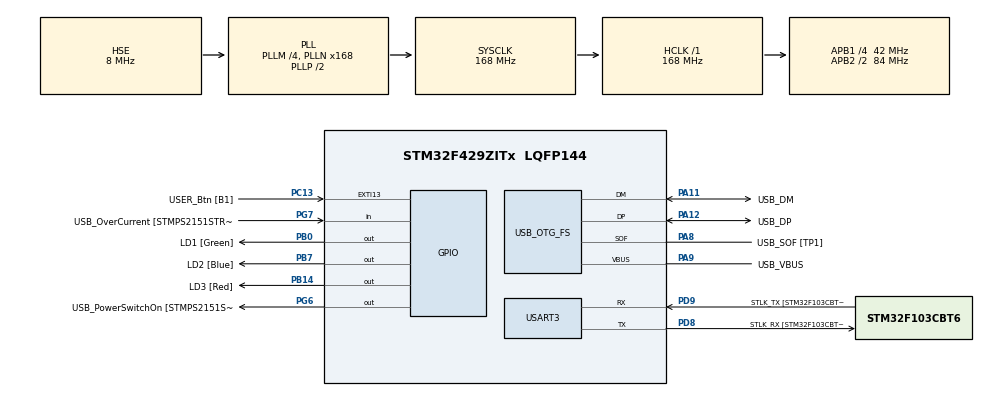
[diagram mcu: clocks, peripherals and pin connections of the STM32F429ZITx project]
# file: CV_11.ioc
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Mcu.Family=STM32F4
Mcu.Name=STM32F429ZITx
Mcu.Package=LQFP144
NVIC.OTG_FS_IRQn=true\:0\:0\:false\:false\:true\:false\:true\:true
NVIC.PriorityGroup=NVIC_PRIORITYGROUP_4
PA1.GPIO_Label=RMII_REF_CLK [LAN8742A-CZ-TR_REFCLK0]
PA1.Signal=ETH_REF_CLK
PA10.GPIO_Label=USB_ID
PA10.Signal=USB_OTG_FS_ID
PA11.GPIO_Label=USB_DM
PA11.Mode=Device_Only
PA11.Signal=USB_OTG_FS_DM
PA12.GPIO_Label=USB_DP
PA12.Mode=Device_Only
PA12.Signal=USB_OTG_FS_DP
PA13.GPIO_Label=TMS
PA13.Mode=Serial_Wire
PA13.Signal=SYS_JTMS-SWDIO
PA14.GPIO_Label=TCK
PA14.Mode=Serial_Wire
PA14.Signal=SYS_JTCK-SWCLK
PA2.GPIO_Label=RMII_MDIO [LAN8742A-CZ-TR_MDIO]
PA2.Signal=ETH_MDIO
PA7.GPIO_Label=RMII_CRS_DV [LAN8742A-CZ-TR_CRS_DV]
PA7.Signal=ETH_CRS_DV
PA8.GPIO_Label=USB_SOF [TP1]
PA8.Mode=Activate_SOF_FS
PA8.Signal=USB_OTG_FS_SOF
PA9.GPIO_Label=USB_VBUS
PA9.Mode=Activate_VBUS
PA9.Signal=USB_OTG_FS_VBUS
PB0.GPIO_Label=LD1 [Green]
PB0.Signal=GPIO_Output
PB13.GPIO_Label=RMII_TXD1 [LAN8742A-CZ-TR_TXD1]
PB13.Signal=ETH_TXD1
PB14.GPIO_Label=LD3 [Red]
PB14.Signal=GPIO_Output
PB7.GPIO_Label=LD2 [Blue]
PB7.Signal=GPIO_Output
PC1.GPIO_Label=RMII_MDC [LAN8742A-CZ-TR_MDC]
PC1.Signal=ETH_MDC
PC13.GPIO_Label=USER_Btn [B1]
PC13.Signal=GPXTI13
PC14/OSC32_IN.Mode=LSE-External-Oscillator
PC14/OSC32_IN.Signal=RCC_OSC32_IN
PC15/OSC32_OUT.Mode=LSE-External-Oscillator
PC15/OSC32_OUT.Signal=RCC_OSC32_OUT
PC4.GPIO_Label=RMII_RXD0 [LAN8742A-CZ-TR_RXD0]
PC4.Signal=ETH_RXD0
PC5.GPIO_Label=RMII_RXD1 [LAN8742A-CZ-TR_RXD1]
PC5.Signal=ETH_RXD1
PD8.GPIO_Label=STLK_RX [STM32F103CBT6_PA3]
PD8.Mode=Asynchronous
PD8.Signal=USART3_TX
PD9.GPIO_Label=STLK_TX [STM32F103CBT6_PA2]
PD9.Mode=Asynchronous
PD9.Signal=USART3_RX
PG11.GPIO_Label=RMII_TX_EN [LAN8742A-CZ-TR_TXEN]
PG11.Signal=ETH_TX_EN
PG13.GPIO_Label=RMII_TXD0 [LAN8742A-CZ-TR_TXD0]
PG13.Signal=ETH_TXD0
PG6.GPIO_Label=USB_PowerSwitchOn [STMPS2151STR_EN]
PG6.Signal=GPIO_Output
PG7.GPIO_Label=USB_OverCurrent [STMPS2151STR_FAULT]
PG7.Signal=GPIO_Input
PH0/OSC_IN.GPIO_Label=MCO [STM32F103CBT6_PA8]
PH0/OSC_IN.Mode=HSE-External-Clock-Source
PH0/OSC_IN.Signal=RCC_OSC_IN
PH1/OSC_OUT.Mode=HSE-External-Clock-Source
PH1/OSC_OUT.Signal=RCC_OSC_OUT
ProjectManager.HeapSize=0x200
ProjectManager.StackSize=0x400
ProjectManager.TargetToolchain=STM32CubeIDE
RCC.48MHZClocksFreq_Value=48000000
RCC.AHBFreq_Value=168000000
RCC.APB1CLKDivider=RCC_HCLK_DIV4
RCC.APB1Freq_Value=42000000
RCC.APB1TimFreq_Value=84000000
RCC.APB2CLKDivider=RCC_HCLK_DIV2
RCC.APB2Freq_Value=84000000
RCC.APB2TimCLKDivider=2
RCC.APB2TimFreq_Value=168000000
RCC.CortexFreq_Value=168000000
RCC.HCLKFreq_Value=168000000
RCC.HSE_VALUE=8000000
RCC.HSI_VALUE=16000000
RCC.PLLM=4
RCC.PLLMUL=RCC_PLL_MUL9
RCC.PLLN=168
RCC.PLLQ=7
RCC.PRESCALERUSB=RCC_USBCLKSOURCE_PLL_DIV1_5
RCC.SYSCLKFreq_VALUE=168000000
RCC.SYSCLKSource=RCC_SYSCLKSOURCE_PLLCLK
RCC.SYSCLKSourceVirtual=RCC_SYSCLKSOURCE_PLLCLK
RCC.USBFreq_Value=48000000
RCC.VCOOutputFreq_Value=336000000
USART3.VirtualMode=VM_ASYNC
USB_DEVICE.CLASS_NAME_FS=HID
USB_DEVICE.VirtualMode-HID_FS=Hid
USB_DEVICE.VirtualModeFS=Hid_FS
USB_OTG_FS.VirtualMode=Device_Only
VP_USB_DEVICE_VS_USB_DEVICE_HID_FS.Mode=HID_FS
board=NUCLEO-F429ZI

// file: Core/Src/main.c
/* USER CODE BEGIN Header */
/**
  ******************************************************************************
  * @file           : main.c
  * @brief          : Main program body
  ******************************************************************************
  * @attention
  *
  * Copyright (c) 2023 STMicroelectronics.
  * All rights reserved.
  *
  * This software is licensed under terms that can be found in the LICENSE file
  * in the root directory of this software component.
  * If no LICENSE file comes with this software, it is provided AS-IS.
  *
  ******************************************************************************
  */
/* USER CODE END Header */
#include "main.h"
#include "usb_device.h"

/* USER CODE BEGIN Includes */
#include "usbd_hid.h"
#include "math.h"
/* USER CODE END Includes */

UART_HandleTypeDef huart3;

void SystemClock_Config(void);
static void MX_GPIO_Init(void);
static void MX_USART3_UART_Init(void);

/* USER CODE BEGIN 0 */
extern USBD_HandleTypeDef hUsbDeviceFS;

static void posunMys(uint8_t x, uint8_t y){
	uint8_t buff[4];

	buff[0] = 0; // stiskni leve tlacitko
	buff[1] = (int8_t)(x); // posun X +10
	buff[2] = (int8_t)(y); // posun Y -3
	buff[3] = 0; // bez scrollu
	USBD_HID_SendReport(&hUsbDeviceFS, buff, sizeof(buff));  // posle data do PC
	HAL_Delay(USBD_HID_GetPollingInterval(&hUsbDeviceFS));
}

static void nakreslikruznicu(uint8_t r){
	uint8_t buff[4];

	for (uint8_t i=0; i<=120; i++){
		int krok=i*3;
		float x=r*cos(krok*M_PI/180);
		float y=r*sin(krok*M_PI/180);

		buff[0] = 0x01; // stiskni leve tlacitko
		buff[1] = (int8_t)x; // posun X
		buff[2] = (int8_t)y; // posun Y
		buff[3] = 0; // bez scrollu
		USBD_HID_SendReport(&hUsbDeviceFS, buff, sizeof(buff));  // posle data do PC
		HAL_Delay(USBD_HID_GetPollingInterval(&hUsbDeviceFS));
	}
}

static void usmev(uint8_t r){
	uint8_t buff[4];

	for (uint8_t i=40; i<=80; i++){
		int krok=i*3;
		float x=r*cos(krok*M_PI/180);
		float y=r*sin(krok*M_PI/180);

		buff[0] = 0x01; // stiskni leve tlacitko
		buff[1] = (int8_t)x; // posun X
		buff[2] = (int8_t)y; // posun Y
		buff[3] = 0; // bez scrollu
		USBD_HID_SendReport(&hUsbDeviceFS, buff, sizeof(buff));  // posle data do PC
		HAL_Delay(USBD_HID_GetPollingInterval(&hUsbDeviceFS));
	}
}

static void releasebtn(){
	uint8_t buff[4];

	buff[0] = 0; // stiskni leve tlacitko
	buff[1] = 0; // posun X
	buff[2] = 0; // posun Y
	buff[3] = 0; // bez scrollu
	USBD_HID_SendReport(&hUsbDeviceFS, buff, sizeof(buff));  // posle data do PC
	HAL_Delay(USBD_HID_GetPollingInterval(&hUsbDeviceFS));
}

static void pushbtn(){
	uint8_t buff[4];

	buff[0] = 0x01; // stiskni leve tlacitko
	buff[1] = 0; // posun X
	buff[2] = 0; // posun Y
	buff[3] = 0; // bez scrollu
	USBD_HID_SendReport(&hUsbDeviceFS, buff, sizeof(buff));  // posle data do PC
	HAL_Delay(USBD_HID_GetPollingInterval(&hUsbDeviceFS));
}
/* USER CODE END 0 */

int main(void)
{

  /* MCU Configuration--------------------------------------------------------*/

  /* Reset of all peripherals, Initializes the Flash interface and the Systick. */
  HAL_Init();

  /* Configure the system clock */
  SystemClock_Config();

  /* Initialize all configured peripherals */
  MX_GPIO_Init();
  MX_USART3_UART_Init();
  MX_USB_DEVICE_Init();

  /* Infinite loop */
  /* USER CODE BEGIN WHILE */
  while (1)
  {
	  if (HAL_GPIO_ReadPin(USER_Btn_GPIO_Port, USER_Btn_Pin)){
		  nakreslikruznicu(10);
		  releasebtn();
		  posunMys(-50,60);
		  nakreslikruznicu(4);
		  releasebtn();
		  posunMys(100,0);
		  nakreslikruznicu(4);
		  releasebtn();
		  posunMys(-53,20);
		  pushbtn();
		  posunMys(0,40);
		  releasebtn();
		  posunMys(43,10);
		  usmev(7);
		  releasebtn();

	  }
    /* USER CODE END WHILE */

  }
}

void SystemClock_Config(void)
{
  RCC_OscInitTypeDef RCC_OscInitStruct = {0};
  RCC_ClkInitTypeDef RCC_ClkInitStruct = {0};

  /** Configure the main internal regulator output voltage
  */
  __HAL_RCC_PWR_CLK_ENABLE();
  __HAL_PWR_VOLTAGESCALING_CONFIG(PWR_REGULATOR_VOLTAGE_SCALE1);

  /** Initializes the RCC Oscillators according to the specified parameters
  * in the RCC_OscInitTypeDef structure.
  */
  RCC_OscInitStruct.OscillatorType = RCC_OSCILLATORTYPE_HSE;
  RCC_OscInitStruct.HSEState = RCC_HSE_BYPASS;
  RCC_OscInitStruct.PLL.PLLState = RCC_PLL_ON;
  RCC_OscInitStruct.PLL.PLLSource = RCC_PLLSOURCE_HSE;
  RCC_OscInitStruct.PLL.PLLM = 4;
  RCC_OscInitStruct.PLL.PLLN = 168;
  RCC_OscInitStruct.PLL.PLLP = RCC_PLLP_DIV2;
  RCC_OscInitStruct.PLL.PLLQ = 7;
  if (HAL_RCC_OscConfig(&RCC_OscInitStruct) != HAL_OK)
  {
    Error_Handler();
  }

  /** Initializes the CPU, AHB and APB buses clocks
  */
  RCC_ClkInitStruct.ClockType = RCC_CLOCKTYPE_HCLK|RCC_CLOCKTYPE_SYSCLK
                              |RCC_CLOCKTYPE_PCLK1|RCC_CLOCKTYPE_PCLK2;
  RCC_ClkInitStruct.SYSCLKSource = RCC_SYSCLKSOURCE_PLLCLK;
  RCC_ClkInitStruct.AHBCLKDivider = RCC_SYSCLK_DIV1;
  RCC_ClkInitStruct.APB1CLKDivider = RCC_HCLK_DIV4;
  RCC_ClkInitStruct.APB2CLKDivider = RCC_HCLK_DIV2;

  if (HAL_RCC_ClockConfig(&RCC_ClkInitStruct, FLASH_LATENCY_5) != HAL_OK)
  {
    Error_Handler();
  }
}

static void MX_USART3_UART_Init(void)
{

  huart3.Instance = USART3;
  huart3.Init.BaudRate = 115200;
  huart3.Init.WordLength = UART_WORDLENGTH_8B;
  huart3.Init.StopBits = UART_STOPBITS_1;
  huart3.Init.Parity = UART_PARITY_NONE;
  huart3.Init.Mode = UART_MODE_TX_RX;
  huart3.Init.HwFlowCtl = UART_HWCONTROL_NONE;
  huart3.Init.OverSampling = UART_OVERSAMPLING_16;
  if (HAL_UART_Init(&huart3) != HAL_OK)
  {
    Error_Handler();
  }

}

static void MX_GPIO_Init(void)
{
  GPIO_InitTypeDef GPIO_InitStruct = {0};

  /* GPIO Ports Clock Enable */
  __HAL_RCC_GPIOC_CLK_ENABLE();
  __HAL_RCC_GPIOH_CLK_ENABLE();
  __HAL_RCC_GPIOA_CLK_ENABLE();
  __HAL_RCC_GPIOB_CLK_ENABLE();
  __HAL_RCC_GPIOD_CLK_ENABLE();
  __HAL_RCC_GPIOG_CLK_ENABLE();

  /*Configure GPIO pin Output Level */
  HAL_GPIO_WritePin(GPIOB, LD1_Pin|LD3_Pin|LD2_Pin, GPIO_PIN_RESET);

  /*Configure GPIO pin Output Level */
  HAL_GPIO_WritePin(USB_PowerSwitchOn_GPIO_Port, USB_PowerSwitchOn_Pin, GPIO_PIN_RESET);

  /*Configure GPIO pin : USER_Btn_Pin */
  GPIO_InitStruct.Pin = USER_Btn_Pin;
  GPIO_InitStruct.Mode = GPIO_MODE_IT_RISING;
  GPIO_InitStruct.Pull = GPIO_NOPULL;
  HAL_GPIO_Init(USER_Btn_GPIO_Port, &GPIO_InitStruct);

  /*Configure GPIO pins : RMII_MDC_Pin RMII_RXD0_Pin RMII_RXD1_Pin */
  GPIO_InitStruct.Pin = RMII_MDC_Pin|RMII_RXD0_Pin|RMII_RXD1_Pin;
  GPIO_InitStruct.Mode = GPIO_MODE_AF_PP;
  GPIO_InitStruct.Pull = GPIO_NOPULL;
  GPIO_InitStruct.Speed = GPIO_SPEED_FREQ_VERY_HIGH;
  GPIO_InitStruct.Alternate = GPIO_AF11_ETH;
  HAL_GPIO_Init(GPIOC, &GPIO_InitStruct);

  /*Configure GPIO pins : RMII_REF_CLK_Pin RMII_MDIO_Pin RMII_CRS_DV_Pin */
  GPIO_InitStruct.Pin = RMII_REF_CLK_Pin|RMII_MDIO_Pin|RMII_CRS_DV_Pin;
  GPIO_InitStruct.Mode = GPIO_MODE_AF_PP;
  GPIO_InitStruct.Pull = GPIO_NOPULL;
  GPIO_InitStruct.Speed = GPIO_SPEED_FREQ_VERY_HIGH;
  GPIO_InitStruct.Alternate = GPIO_AF11_ETH;
  HAL_GPIO_Init(GPIOA, &GPIO_InitStruct);

  /*Configure GPIO pins : LD1_Pin LD3_Pin LD2_Pin */
  GPIO_InitStruct.Pin = LD1_Pin|LD3_Pin|LD2_Pin;
  GPIO_InitStruct.Mode = GPIO_MODE_OUTPUT_PP;
  GPIO_InitStruct.Pull = GPIO_NOPULL;
  GPIO_InitStruct.Speed = GPIO_SPEED_FREQ_LOW;
  HAL_GPIO_Init(GPIOB, &GPIO_InitStruct);

  /*Configure GPIO pin : RMII_TXD1_Pin */
  GPIO_InitStruct.Pin = RMII_TXD1_Pin;
  GPIO_InitStruct.Mode = GPIO_MODE_AF_PP;
  GPIO_InitStruct.Pull = GPIO_NOPULL;
  GPIO_InitStruct.Speed = GPIO_SPEED_FREQ_VERY_HIGH;
  GPIO_InitStruct.Alternate = GPIO_AF11_ETH;
  HAL_GPIO_Init(RMII_TXD1_GPIO_Port, &GPIO_InitStruct);

  /*Configure GPIO pin : USB_PowerSwitchOn_Pin */
  GPIO_InitStruct.Pin = USB_PowerSwitchOn_Pin;
  GPIO_InitStruct.Mode = GPIO_MODE_OUTPUT_PP;
  GPIO_InitStruct.Pull = GPIO_NOPULL;
  GPIO_InitStruct.Speed = GPIO_SPEED_FREQ_LOW;
  HAL_GPIO_Init(USB_PowerSwitchOn_GPIO_Port, &GPIO_InitStruct);

  /*Configure GPIO pin : USB_OverCurrent_Pin */
  GPIO_InitStruct.Pin = USB_OverCurrent_Pin;
  GPIO_InitStruct.Mode = GPIO_MODE_INPUT;
  GPIO_InitStruct.Pull = GPIO_NOPULL;
  HAL_GPIO_Init(USB_OverCurrent_GPIO_Port, &GPIO_InitStruct);

  /*Configure GPIO pins : RMII_TX_EN_Pin RMII_TXD0_Pin */
  GPIO_InitStruct.Pin = RMII_TX_EN_Pin|RMII_TXD0_Pin;
  GPIO_InitStruct.Mode = GPIO_MODE_AF_PP;
  GPIO_InitStruct.Pull = GPIO_NOPULL;
  GPIO_InitStruct.Speed = GPIO_SPEED_FREQ_VERY_HIGH;
  GPIO_InitStruct.Alternate = GPIO_AF11_ETH;
  HAL_GPIO_Init(GPIOG, &GPIO_InitStruct);

}

void Error_Handler(void)
{
  __disable_irq();
  while (1)
  {
  }
}
